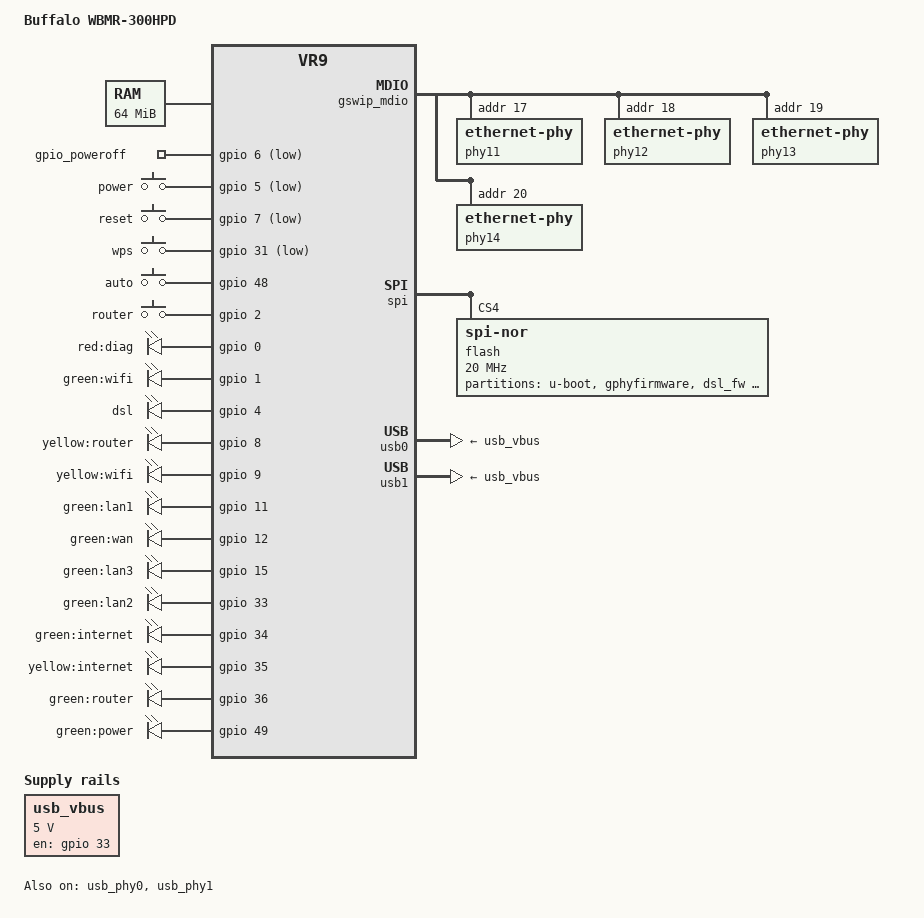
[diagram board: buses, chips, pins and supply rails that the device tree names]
#include "vr9.dtsi"

#include <dt-bindings/input/input.h>
#include <dt-bindings/mips/lantiq_rcu_gphy.h>

/ {
	compatible = "buffalo,wbmr-300hpd", "lantiq,xway", "lantiq,vr9";
	model = "Buffalo WBMR-300HPD";

	chosen {
		bootargs = "console=ttyLTQ0,115200";
	};

	aliases {
		led-boot = &power_g;
		led-failsafe = &diag_r;
		led-running = &power_g;
		led-upgrade = &power_g;

		led-dsl = &dsl;
		led-internet = &router_g;
		led-wifi = &wifi_g;
	};

	memory@0 {
		device_type = "memory";
		reg = <0x0 0x4000000>;
	};

	gpio_poweroff {
		compatible = "gpio-poweroff";
		gpios = <&gpio 6 GPIO_ACTIVE_LOW>;
	};

	keys {
		compatible = "gpio-keys-polled";
		poll-interval = <100>;

		power {
			label = "power";
			gpios = <&gpio 5 GPIO_ACTIVE_LOW>;
			linux,code = <KEY_POWER>;
		};

		reset {
			label = "reset";
			gpios = <&gpio 7 GPIO_ACTIVE_LOW>;
			linux,code = <KEY_RESTART>;
		};

		wps {
			label = "wps";
			gpios = <&gpio 31 GPIO_ACTIVE_LOW>;
			linux,code = <KEY_WPS_BUTTON>;
		};

		auto {
			label = "auto";
			gpios = <&gpio 48 GPIO_ACTIVE_HIGH>;
			linux,code = <BTN_0>;
			linux,input-type = <EV_SW>;
		};

		router {
			label = "router";
			gpios = <&gpio 2 GPIO_ACTIVE_HIGH>;
			linux,code = <BTN_1>;
			linux,input-type = <EV_SW>;
		};
	};

	leds {
		compatible = "gpio-leds";

		diag_r: diag_r {
			label = "red:diag";
			gpios = <&gpio 0 GPIO_ACTIVE_HIGH>;
			default_state = "off";
		};

		wifi_g: wifi_g {
			label = "green:wifi";
			gpios = <&gpio 1 GPIO_ACTIVE_HIGH>;
		};

		dsl: dsl {
			label = "dsl";
			gpios = <&gpio 4 GPIO_ACTIVE_HIGH>;
		};

		router_y: router_y {
			label = "yellow:router";
			gpios = <&gpio 8 GPIO_ACTIVE_HIGH>;
		};

		wifi_y: wifi_y {
			label = "yellow:wifi";
			gpios = <&gpio 9 GPIO_ACTIVE_HIGH>;
		};

		lan1: lan1 {
			label = "green:lan1";
			gpios = <&gpio 11 GPIO_ACTIVE_HIGH>;
		};

		wan: wan {
			label = "green:wan";
			gpios = <&gpio 12 GPIO_ACTIVE_HIGH>;
		};

		lan3: lan3 {
			label = "green:lan3";
			gpios = <&gpio 15 GPIO_ACTIVE_HIGH>;
		};

		lan2: lan2 {
			label = "green:lan2";
			gpios = <&gpio 33 GPIO_ACTIVE_HIGH>;
		};

		internet_g: internet_g {
			label = "green:internet";
			gpios = <&gpio 34 GPIO_ACTIVE_HIGH>;
		};

		internet_y: internet_y {
			label = "yellow:internet";
			gpios = <&gpio 35 GPIO_ACTIVE_HIGH>;
		};

		router_g: router_g {
			label = "green:router";
			gpios = <&gpio 36 GPIO_ACTIVE_HIGH>;
		};

		power_g: power_g {
			label = "green:power";
			gpios = <&gpio 49 GPIO_ACTIVE_HIGH>;
		};
	};

	usb_vbus: regulator-usb-vbus {
		compatible = "regulator-fixed";

		regulator-name = "USB_VBUS";

		regulator-min-microvolt = <5000000>;
		regulator-max-microvolt = <5000000>;

		gpio = <&gpio 33 GPIO_ACTIVE_HIGH>;
		enable-active-high;
	};
};

&gphy0 {
	lantiq,gphy-mode = <GPHY_MODE_FE>;
};

&gphy1 {
	lantiq,gphy-mode = <GPHY_MODE_FE>;
};

&gpio {
	pinctrl-names = "default";
	pinctrl-0 = <&state_default>;

	state_default: pinmux {
		phy-rst {
			lantiq,pins = "io42";
			lantiq,pull = <0>;
			lantiq,open-drain = <0>;
			lantiq,output = <1>;
		};
		pcie-rst {
			lantiq,pins = "io38";
			lantiq,pull = <0>;
			lantiq,output = <1>;
		};
	};
};

&gswip_mdio {
	phy11: ethernet-phy@11 {
		reg = <0x11>;
	};
	phy12: ethernet-phy@12 {
		reg = <0x12>;
	};
	phy13: ethernet-phy@13 {
		reg = <0x13>;
	};
	phy14: ethernet-phy@14 {
		reg = <0x14>;
	};
};

&gswip_ports {
	port@2 {
		reg = <2>;
		label = "lan3";
		phy-mode = "internal";
		phy-handle = <&phy11>;
	};
	port@3 {
		reg = <3>;
		label = "lan4";
		phy-mode = "internal";
		phy-handle = <&phy12>;
	};
	port@4 {
		reg = <4>;
		label = "lan1";
		phy-mode = "internal";
		phy-handle = <&phy13>;
	};
	port@5 {
		reg = <5>;
		label = "lan2";
		phy-mode = "internal";
		phy-handle = <&phy14>;
	};
};

&spi {
	status = "okay";

	flash@4 {
		compatible = "jedec,spi-nor";
		reg = <4>;
		spi-max-frequency = <20000000>;

		partitions {
			#address-cells = <1>;
			#size-cells = <1>;

			partition@0 {
				reg = <0x0 0x10000>;
				label = "u-boot";
				read-only;
			};

			partition@10000 {
				reg = <0x10000 0x10000>;
				label = "gphyfirmware";
				read-only;
			};

			partition@20000 {
				reg = <0x20000 0x80000>;
				label = "dsl_fw";
			};

			partition@de0000 {
				reg = <0xa0000 0xf40000>;
				label = "firmware";
			};

			partition@fe0000 {
				reg = <0xfe0000 0x10000>;
				label = "sysconfig";
				read-only;
			};

			partition@ff0000 {
				reg = <0xff0000 0x2000>;
				label = "u-boot-env";
			};

			partition@ff3000 {
				reg = <0xff3000 0x2000>;
				label = "board_config";
				read-only;
			};
		};
	};
};

&usb_phy0 {
	status = "okay";
};

&usb_phy1 {
	status = "okay";
};

&usb0 {
	status = "okay";
	vbus-supply = <&usb_vbus>;
};

&usb1 {
	status = "okay";
	vbus-supply = <&usb_vbus>;
};
